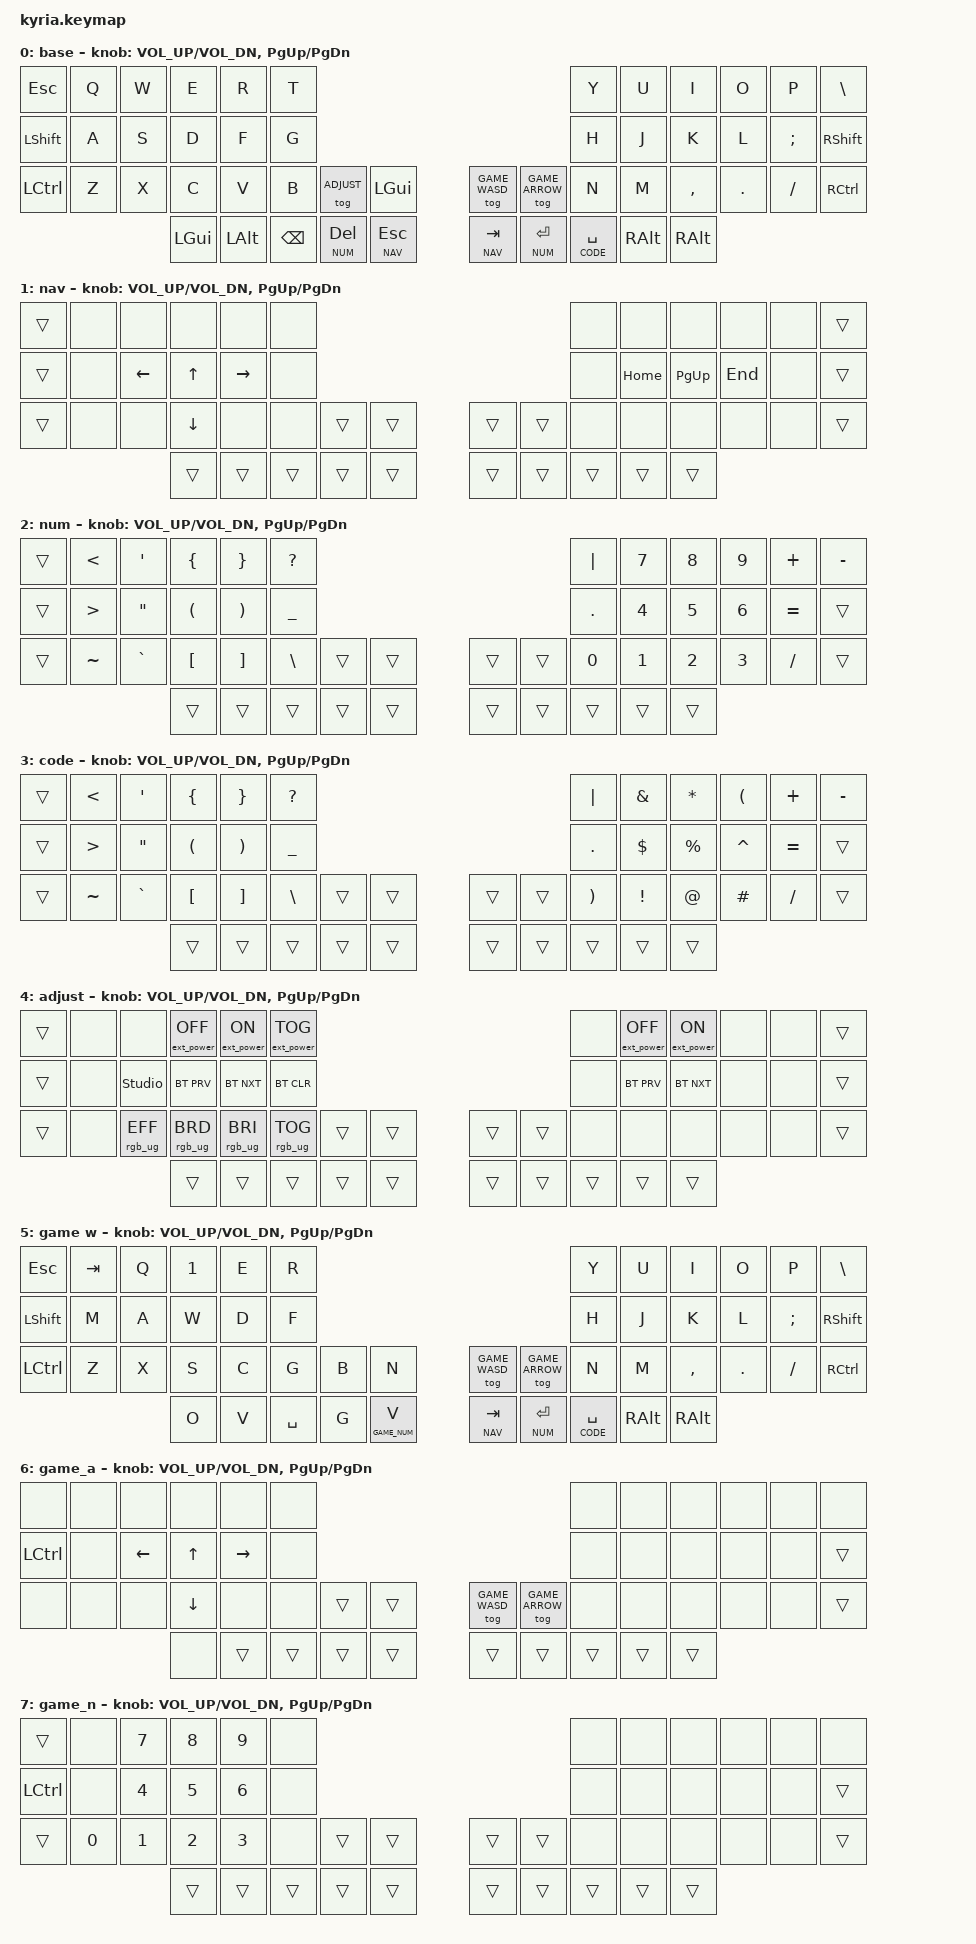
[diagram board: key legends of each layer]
/*
 * Copyright (c) 2020 The ZMK Contributors
 *
 * SPDX-License-Identifier: MIT
 */

#include <behaviors.dtsi>
#include <dt-bindings/zmk/keys.h>
#include <dt-bindings/zmk/bt.h>
#include <dt-bindings/zmk/ext_power.h>
#include <dt-bindings/zmk/rgb.h>

&nice_view_spi {
    cs-gpios = <&pro_micro 0 GPIO_ACTIVE_HIGH>;
};

#define BASE       0
#define NAV        1
#define NUM        2
#define CODE       3
#define ADJUST     4
#define GAME_WASD  5
#define GAME_ARROW 6
#define GAME_NUM   7

/ {
	keymap {
		compatible = "zmk,keymap";

		base_layer {
			// ---------------------------------------------------------------------------------------------------------------------------------
			// |  ESC  |  Q  |  W  |  E   |  R   |  T   |                                          |  Y   |  U    |  I    |  O   |   P   |   \  |
			// | SHIFT |  A  |  S  |  D   |  F   |  G   |                                          |  H   |  J    |  K    |  L   |   ;   | SHIFT|
			// | CTRL  |  Z  |  X  |  C   |  V   |  B   | L SHIFT |   LGUI  |  | L SHIFT | L SHIFT |  N   |  M    |  ,    |  .   |   /   | CTRL |
			//                     | GUI  | L-ALT| BSPC |   DEL   |   ESC   |  |   TAB   |   RET   | SPACE| R-ALT | R-ALT |
			bindings = <
				&kp ESC     &kp Q &kp W &kp E &kp R &kp T                                                &kp Y &kp U  &kp I     &kp O   &kp P    &kp BSLH
				&kp LSHFT   &kp A &kp S &kp D &kp F &kp G                                                &kp H &kp J  &kp K     &kp L   &kp SEMI &kp RSHFT
				&kp LCTRL   &kp Z &kp X &kp C &kp V &kp B &tog ADJUST &kp LGUI         &tog GAME_WASD &tog GAME_ARROW &kp N &kp M  &kp COMMA &kp DOT &kp FSLH &kp RCTRL
	     		&kp LGUI &kp LALT &kp BSPC &lt NUM DEL &lt NAV ESC          &lt NAV TAB  &lt NUM RET &lt CODE SPACE &kp RALT &kp RALT
			>;
			sensor-bindings = <&inc_dec_kp C_VOL_UP C_VOL_DN &inc_dec_kp PG_UP PG_DN>;
			label = "base";
		};

		nav_layer {
			// ---------------------------------------------------------------------------------------------------------------------------------
			// |       |  -  |  -  |  -   |  -   |  -   |                                          |  -   |  -    |  -    |  -   |   -   |      |
			// |       |  -  | LEFT|  UP  |RIGHT |  -   |                                          |  -   |  HOME |  PGUP | END  |   -   |      |
			// |       |  -  |  -  | DOWN |  -   |  -   |         |         |  |         |         |  -   |  -    |PGDOWN |  -   |   -   |      |
			//                     |      |      |      |         |         |  |         |         |      |       |       |
			bindings = <
				&trans   &none &none &none &none &none                                                &none &none &none     &none   &none    &trans
				&trans   &none &kp LEFT &kp UP &kp RIGHT &none                                        &none &kp HOME  &kp PG_UP     &kp END   &none &trans
				&trans   &none &none &kp DOWN &none &none &trans &trans        &trans &trans &none &none  &none &none &none &trans
	            &trans &trans &trans &trans &trans                      &trans  &trans  &trans &trans &trans
			>;

			sensor-bindings = <&inc_dec_kp C_VOL_UP C_VOL_DN &inc_dec_kp PG_UP PG_DN>;
			label = "nav";
		};

		num_layer {
			// ---------------------------------------------------------------------------------------------------------------------------------
			// |       |  Q  |  W  |  E   |  R   |  T   |                                          |  Y   |  U    |  I    |  O   |   P   |      |
			// |       |  A  |  S  |  D   |  F   |  G   |                                          |  H   |  J    |  K    |  L   |   ;   |      |
			// |       |  Z  |  X  |  C   |  V   |  B   |         |         |  |         |         |  N   |  M    |  ,    |  .   |   /   |      |
			//                     |      |      |      |         |         |  |         |         |      |       |       |
			bindings = <
				&trans &kp LT &kp SQT &kp LBRC &kp RBRC &kp QMARK &kp PIPE &kp N7 &kp N8 &kp N9 &kp PLUS &kp MINUS
				&trans &kp GT &kp DQT &kp LPAR &kp RPAR &kp UNDERSCORE &kp DOT &kp N4 &kp N5 &kp N6 &kp EQUAL &trans
				&trans &kp TILDE &kp GRAVE &kp LBKT &kp RBKT &kp BSLH &trans &trans &trans &trans &kp N0 &kp N1 &kp N2 &kp N3 &kp FSLH &trans
				&trans &trans &trans &trans &trans &trans &trans &trans &trans &trans
			>;
			sensor-bindings = <&inc_dec_kp C_VOL_UP C_VOL_DN &inc_dec_kp PG_UP PG_DN>;
			label = "num";
		};

		code_layer {
			// ---------------------------------------------------------------------------------------------------------------------------------
			// |       |  Q  |  W  |  E   |  R   |  T   |                                          |  Y   |  U    |  I    |  O   |   P   |      |
			// |       |  A  |  S  |  D   |  F   |  G   |                                          |  H   |  J    |  K    |  L   |   ;   |      |
			// |       |  Z  |  X  |  C   |  V   |  B   |         |         |  |         |         |  N   |  M    |  ,    |  .   |   /   |      |
			//                     |      |      |      |         |         |  |         |         |      |       |       |
			bindings = <
				&trans &kp LT &kp SQT &kp LBRC &kp RBRC &kp QMARK &kp PIPE &kp AMPS &kp ASTRK &kp LPAR &kp PLUS &kp MINUS
				&trans &kp GT &kp DQT &kp LPAR &kp RPAR &kp UNDERSCORE &kp DOT &kp DLLR &kp PRCNT &kp CARET &kp EQUAL  &trans
				&trans &kp TILDE &kp GRAVE &kp LBKT &kp RBKT &kp BSLH  &trans  &trans  &trans  &trans &kp RPAR &kp EXCL &kp AT &kp HASH &kp FSLH  &trans
				&trans  &trans  &trans  &trans  &trans  &trans  &trans  &trans  &trans  &trans
			>;
			sensor-bindings = <&inc_dec_kp C_VOL_UP C_VOL_DN &inc_dec_kp PG_UP PG_DN>;
			label = "code";
		};

		adjust_layer {
			// ---------------------------------------------------------------------------------------------------------------------------------
			// |       |  -  |   -   | EP_OFF | EP_ON  | EP_TOG |                                          |  -   |  -    |  -    |  -   |   -   |      |
			// |       |  -  | UNLOCK| BT_PRV | BT_NXT | BT_CLR |                                          |  -   |  -    |  -    |  -   |   -   |      |
			// |       |  -  |RGB_EFF| RGB_BRD | RGB_BRI | RGB_TOG |         |         |  |         |         |  -   |  -    |  -    |  -   |   -   |      |
			//                       |      |      |      |         |         |  |         |         |      |       |       |
			bindings = <
				&trans   &none &none &ext_power EP_OFF &ext_power EP_ON &ext_power EP_TOG                                                &none &ext_power EP_OFF &ext_power EP_ON &none   &none    &trans
				&trans   &none &studio_unlock &bt BT_PRV &bt BT_NXT &bt BT_CLR                                        &none &bt BT_PRV &bt BT_NXT &none   &none &trans
				&trans   &none &rgb_ug RGB_EFF &rgb_ug RGB_BRD &rgb_ug RGB_BRI &rgb_ug RGB_TOG &trans &trans        &trans &trans &none &none  &none &none &none &trans
	            &trans &trans &trans &trans &trans                      &trans  &trans  &trans &trans &trans
			>;
			sensor-bindings = <&inc_dec_kp C_VOL_UP C_VOL_DN &inc_dec_kp PG_UP PG_DN>;
			label = "adjust";
		};

		game_wasd_layer {
			// ---------------------------------------------------------------------------------------------------------------------------------
			// | ESC | TAB |  Q  |   1  |  E   |  R  |                                          |  Y   |  U    |  I    |  O   |   P   |   \  |
			// |SHIFT|  M  |  A  |   W  |  D   |  F  |                                          |  H   |  J    |  K    |  L   |   ;   | SHIFT|
			// |CTRL |  Z  |  X  |   S  |  C   |  G  |    B    |    N    |  | BASE | BASE |  N   |  M    |  ,    |  .   |   /   | CTRL |
			//                  |   O  |  V   |SPACE|    G    |   NUM   |  |   TAB   |   RET   | SPACE| R-ALT | R-ALT |
			bindings = <
				&kp ESC    &kp TAB   &kp Q &kp N1    &kp E &kp R                                                	    &kp Y    	   &kp U    &kp I     &kp O   &kp P    &kp BSLH
				&kp LSHFT  &kp M &kp A &kp W    &kp D &kp F                                                	    &kp H   	   &kp J    &kp K     &kp L   &kp SEMI &kp RSHFT
				&kp LCTRL  &kp Z     &kp X &kp S    &kp C &kp G     &kp B &kp N            &tog GAME_WASD &tog GAME_ARROW &kp N          &kp M    &kp COMMA &kp DOT &kp FSLH &kp RCTRL
										   &kp O &kp V &kp SPACE &kp G &lt GAME_NUM V &lt NAV TAB  &lt NUM RET &lt CODE SPACE &kp RALT &kp RALT
			>;
			sensor-bindings = <&inc_dec_kp C_VOL_UP C_VOL_DN 									&inc_dec_kp PG_UP PG_DN>;
			label = "game w";
		};

		game_arrow_layer {
			// ---------------------------------------------------------------------------------------------------------------------------------
			// |       |     |     |      |      |      |                                          |      |       |       |      |       |      |
			// |  CTRL |     |  <  |  ^   |  >   |      |                                          |      |       |       |      |       |      |
			// |       |     |     |  v   |      |      |         |         |  |         |         |      |       |       |      |       |      |
			//                     |      |      |      |         |         |  |         |         |      |       |       |
			bindings = <
				&none     &none  &none    &none    &none     &none  							                  &none  &none  &none &none &none &none
				&kp LCTRL &none  &kp LEFT &kp UP   &kp RIGHT &none  							                  &none  &none  &none &none &none &trans
				&none     &none  &none    &kp DOWN &none     &none   &trans &trans  &tog GAME_WASD &tog GAME_ARROW &none  &none  &none &none &none &trans
										  &none    &trans    &trans  &trans &trans &trans         &trans          &trans &trans &trans
			>;
			sensor-bindings = <&inc_dec_kp C_VOL_UP C_VOL_DN 						&inc_dec_kp PG_UP PG_DN>;
			label = "game_a";
		};

		game_num_layer {
			// ---------------------------------------------------------------------------------------------------------------------------------
			// |       |     |  7  |  8   |  9   |      |                                          |      |       |       |      |       |      |
			// |  CTRL |     |  4  |  5   |  6   |      |                                          |      |       |       |      |       |      |
			// |       |  0  |  1  |  2   |  3   |      |         |         |  |         |         |      |       |       |      |       |      |
			//                     |      |      |      |         |         |  |         |         |      |       |       |
			bindings = <
				&trans    &none  &kp N7 &kp N8 &kp N9 &none 							 &none  &none  &none  &none  &none  &none
				&kp LCTRL &none  &kp N4 &kp N5 &kp N6 &none 							 &none  &none  &none  &none  &none  &trans
				&trans    &kp N0 &kp N1 &kp N2 &kp N3 &none  &trans &trans &trans &trans &none  &none  &none  &none  &none  &trans
										&trans &trans &trans &trans &trans &trans &trans &trans &trans &trans
			>;
			sensor-bindings = <&inc_dec_kp C_VOL_UP C_VOL_DN 						&inc_dec_kp PG_UP PG_DN>;
			label = "game_n";
		};
	};
};
